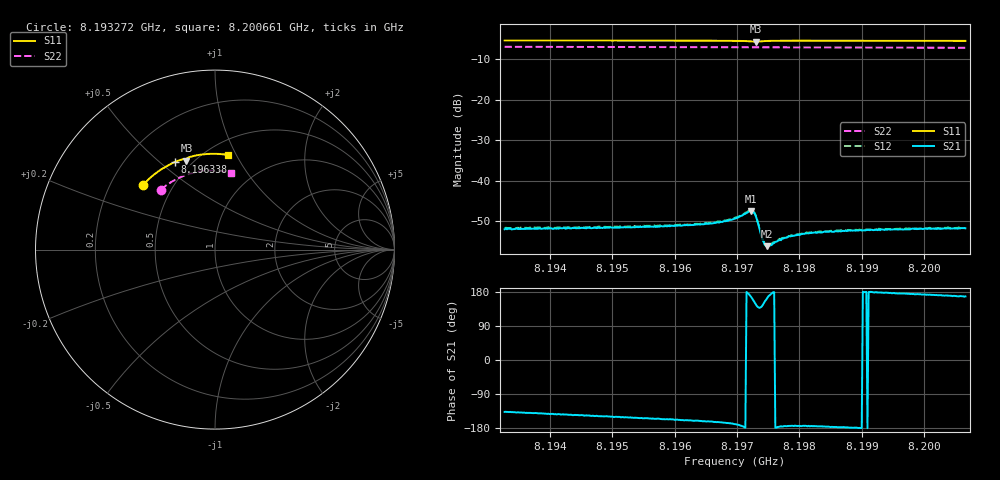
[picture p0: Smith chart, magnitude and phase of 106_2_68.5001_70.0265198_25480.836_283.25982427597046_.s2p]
#  HZ  S  RI  R  50.00
! Rohde & Schwarz Vector Network Analyzer
! Rohde-Schwarz,ZNB20-2Port,1311601062101988,3.16
! Created: UTC 3/20/2024, 4:53:16 PM
! freq[Hz]  re:S11  im:S11  re:S21  im:S21  re:S12  im:S12  re:S22  im:S22
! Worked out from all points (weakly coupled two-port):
!   401 points, 8.193272 GHz to 8.200661 GHz, reference 50 ohm
!   highest |S21| = -47.53 dB at 8.197225 GHz (marker M1); lowest = -56.2 dB at 8.197484 GHz (marker M2)
!   lowest |S11| = -5.7 dB at 8.197299 GHz (marker M3), VSWR 3.17, Z = 23 + j31.2 ohm
!   |S11| at or under -10 dB: nowhere
!   |S22| runs from -7.2 to -6.9 dB; largest |S21 - S12| = 0.00021
!   S11 on the Smith chart (normalised r, x): 8.193272 GHz: 0.34, +0.35; 8.196338 GHz: 0.41, +0.56; 8.200661 GHz: 0.63, +0.92
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8.1932715e9  -0.4002 0.3615  -0.00183 -0.00171  -0.00195 -0.00172  -0.3011 0.3348
8.1945093e9  -0.3359 0.4207  -0.00215 -0.00148  -0.00223 -0.00141  -0.2455 0.3755
8.1957472e9  -0.2626 0.4688  -0.00245 -0.00114  -0.00258 -0.00104  -0.184 0.4069
8.1963383e9  -0.2247 0.4873  -0.00269 -0.000996  -0.0028 -0.000883  -0.1531 0.4185
8.1967448e9  -0.1968 0.4985  -0.00298 -0.000819  -0.00307 -0.000717  -0.1312 0.4252
8.1969665e9  -0.18 0.5032  -0.00333 -0.000638  -0.00346 -0.000508  -0.1191 0.4284
8.1971882e9  -0.1605 0.5021  -0.00413 0.000432  -0.00421 0.000605  -0.1069 0.4309
8.1972251e9  -0.158 0.4998  -0.00409 0.000988  -0.0041 0.00119  -0.1049 0.4315
8.1972621e9  -0.1574 0.4967  -0.00375 0.0016  -0.00382 0.00178  -0.1028 0.4315
8.197299e9  -0.1592 0.4949  -0.00306 0.00203  -0.00301 0.00216  -0.1008 0.4319
8.1973175e9  -0.1605 0.4951  -0.00263 0.00203  -0.00261 0.00217  -0.1 0.4321
8.1974099e9  -0.1615 0.5028  -0.00151 0.00107  -0.00149 0.00112  -0.0952 0.4333
8.1974468e9  -0.1594 0.5058  -0.00145 0.000673  -0.00144 0.000776  -0.093 0.4338
8.1974838e9  -0.1567 0.5082  -0.00149 0.000434  -0.00149 0.000544  -0.0911 0.4342
8.1975207e9  -0.1538 0.51  -0.00156 0.000261  -0.00153 0.000337  -0.0889 0.4347
8.1976685e9  -0.1424 0.5152  -0.00182 -0.000114  -0.00188 -2.86e-05  -0.0807 0.436
8.1977979e9  -0.1327 0.5182  -0.00197 -0.000185  -0.00201 -0.000117  -0.0734 0.4371
8.1979456e9  -0.122 0.521  -0.0021 -0.000231  -0.00214 -0.000124  -0.0652 0.4381
8.1982043e9  -0.1033 0.525  -0.00225 -0.000216  -0.00229 -0.000133  -0.0506 0.4397
8.1986292e9  -0.0731 0.5298  -0.00236 -0.000106  -0.00243 -8.73e-06  -0.0265 0.441
8.1994421e9  -0.0153 0.5337  -0.00249 0.000139  -0.0025 0.000246  0.0194 0.4398
8.2006614e9  0.0708 0.5278  -0.00252 0.000546  -0.00253 0.00065  0.0876 0.4292
